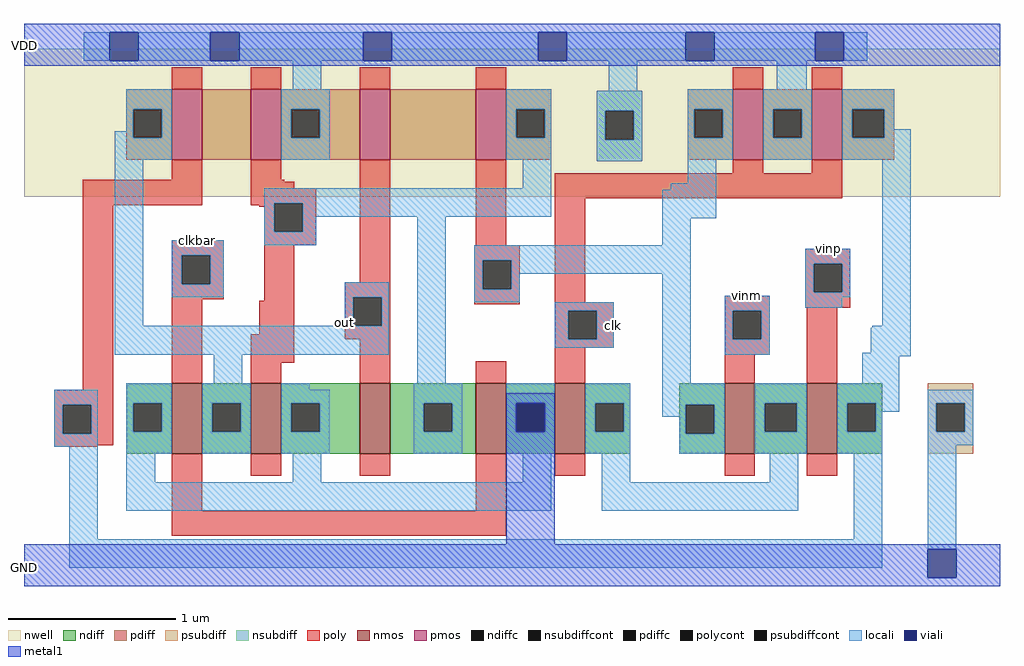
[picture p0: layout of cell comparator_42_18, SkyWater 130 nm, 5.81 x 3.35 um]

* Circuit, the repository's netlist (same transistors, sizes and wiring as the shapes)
* SPICE3 file created from comparator_42_18.ext - technology: sky130A

X0 a_84_n150# out GND GND sky130_fd_pr__nfet_01v8 ad=0p pd=0u as=0p ps=0u w=420000u l=180000u
X1 out clkbar GND GND sky130_fd_pr__nfet_01v8 ad=0p pd=0u as=0p ps=0u w=420000u l=180000u
X2 GND a_84_n150# out GND sky130_fd_pr__nfet_01v8 ad=0p pd=0u as=0p ps=0u w=420000u l=180000u
X3 GND clkbar a_84_n150# GND sky130_fd_pr__nfet_01v8 ad=0p pd=0u as=0p ps=0u w=420000u l=180000u
X4 a_482_n124# clk GND GND sky130_fd_pr__nfet_01v8 ad=0p pd=0u as=0p ps=0u w=420000u l=180000u
X5 a_482_n124# vinm a_350_54# GND sky130_fd_pr__nfet_01v8 ad=0p pd=0u as=0p ps=0u w=420000u l=180000u
X6 a_26_226# a_n150_n116# out VDD sky130_fd_pr__pfet_01v8 ad=0p pd=0u as=0p ps=0u w=420000u l=180000u
X7 a_250_226# out VDD VDD sky130_fd_pr__pfet_01v8 ad=0p pd=0u as=0p ps=0u w=420000u l=180000u
X8 a_n150_n116# vinp a_482_n124# GND sky130_fd_pr__nfet_01v8 ad=0p pd=0u as=0p ps=0u w=420000u l=180000u
X9 a_n150_n116# clk VDD VDD sky130_fd_pr__pfet_01v8 ad=0p pd=0u as=0p ps=0u w=420000u l=180000u
X10 VDD a_84_n150# a_26_226# VDD sky130_fd_pr__pfet_01v8 ad=0p pd=0u as=0p ps=0u w=420000u l=180000u
X11 a_84_n150# a_350_54# a_250_226# VDD sky130_fd_pr__pfet_01v8 ad=0p pd=0u as=0p ps=0u w=420000u l=180000u
X12 VDD clk a_350_54# VDD sky130_fd_pr__pfet_01v8 ad=0p pd=0u as=0p ps=0u w=420000u l=180000u

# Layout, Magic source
magic
tech sky130A
magscale 1 2
<< nwell >>
rect -186 182 976 358
<< nmos >>
rect -10 -124 26 -40
rect 84 -124 120 -40
rect 214 -124 250 -40
rect 352 -124 388 -40
rect 446 -124 482 -40
rect 648 -124 684 -40
rect 746 -124 782 -40
<< pmos >>
rect -10 226 26 310
rect 84 226 120 310
rect 214 226 250 310
rect 352 226 388 310
rect 658 226 694 310
rect 752 226 788 310
<< ndiff >>
rect -64 -64 -10 -40
rect -64 -98 -56 -64
rect -22 -98 -10 -64
rect -64 -124 -10 -98
rect 26 -64 84 -40
rect 26 -98 38 -64
rect 72 -98 84 -64
rect 26 -124 84 -98
rect 120 -64 214 -40
rect 120 -98 132 -64
rect 166 -98 214 -64
rect 120 -124 214 -98
rect 250 -64 352 -40
rect 250 -98 290 -64
rect 324 -98 352 -64
rect 250 -124 352 -98
rect 388 -64 446 -40
rect 388 -98 400 -64
rect 434 -98 446 -64
rect 388 -124 446 -98
rect 482 -64 536 -40
rect 482 -98 494 -64
rect 528 -98 536 -64
rect 482 -124 536 -98
rect 594 -66 648 -40
rect 594 -100 602 -66
rect 636 -100 648 -66
rect 594 -124 648 -100
rect 684 -64 746 -40
rect 684 -98 696 -64
rect 734 -98 746 -64
rect 684 -124 746 -98
rect 782 -64 836 -40
rect 782 -98 794 -64
rect 828 -98 836 -64
rect 782 -124 836 -98
<< pdiff >>
rect -64 286 -10 310
rect -64 252 -56 286
rect -22 252 -10 286
rect -64 226 -10 252
rect 26 226 84 310
rect 120 286 214 310
rect 120 252 132 286
rect 166 252 214 286
rect 120 226 214 252
rect 250 226 352 310
rect 388 286 442 310
rect 388 252 400 286
rect 434 252 442 286
rect 388 226 442 252
rect 604 286 658 310
rect 604 252 612 286
rect 646 252 658 286
rect 604 226 658 252
rect 694 286 752 310
rect 694 252 706 286
rect 740 252 752 286
rect 694 226 752 252
rect 788 286 850 310
rect 788 252 800 286
rect 838 252 850 286
rect 788 226 850 252
<< ndiffc >>
rect -56 -98 -22 -64
rect 38 -98 72 -64
rect 132 -98 166 -64
rect 290 -98 324 -64
rect 400 -98 434 -64
rect 494 -98 528 -64
rect 602 -100 636 -66
rect 696 -98 734 -64
rect 794 -98 828 -64
<< pdiffc >>
rect -56 252 -22 286
rect 132 252 166 286
rect 400 252 434 286
rect 612 252 646 286
rect 706 252 740 286
rect 800 252 838 286
<< psubdiff >>
rect 890 -64 944 -40
rect 890 -98 900 -64
rect 934 -98 944 -64
rect 890 -124 944 -98
<< nsubdiff >>
rect 496 284 550 308
rect 496 250 506 284
rect 540 250 550 284
rect 496 224 550 250
<< psubdiffcont >>
rect 900 -98 934 -64
<< nsubdiffcont >>
rect 506 250 540 284
<< poly >>
rect -10 310 26 336
rect 84 310 120 336
rect 214 310 250 336
rect 352 310 388 336
rect 658 310 694 336
rect 752 310 788 336
rect -10 202 26 226
rect -116 172 26 202
rect 84 202 120 226
rect 84 200 124 202
rect 84 192 136 200
rect 84 174 162 192
rect 84 172 112 174
rect -116 -48 -80 172
rect 94 170 112 172
rect 100 140 112 170
rect 146 140 162 174
rect -10 112 52 130
rect -10 78 2 112
rect 36 78 52 112
rect -10 60 52 78
rect 100 124 162 140
rect -10 -40 26 60
rect 100 58 136 124
rect 214 80 250 226
rect 352 124 388 226
rect 658 210 694 226
rect 752 210 788 226
rect 446 180 788 210
rect 94 18 136 58
rect 84 -16 136 18
rect 196 62 250 80
rect 196 28 206 62
rect 240 28 250 62
rect 350 106 404 124
rect 350 72 360 106
rect 394 72 404 106
rect 350 54 404 72
rect 446 56 482 180
rect 744 102 798 120
rect 744 68 754 102
rect 788 68 798 102
rect 196 12 250 28
rect 84 -40 120 -16
rect 214 -40 250 12
rect 446 46 516 56
rect 446 12 462 46
rect 496 12 516 46
rect 446 2 516 12
rect 648 46 702 64
rect 744 50 798 68
rect 648 12 658 46
rect 692 12 702 46
rect 352 -40 388 -14
rect 446 -40 482 2
rect 648 -6 702 12
rect 648 -40 684 -6
rect 746 -40 782 50
rect -150 -66 -80 -48
rect -150 -100 -140 -66
rect -106 -100 -80 -66
rect -150 -114 -80 -100
rect -150 -116 -98 -114
rect -10 -192 26 -124
rect 84 -150 120 -124
rect 214 -150 250 -124
rect 352 -192 388 -124
rect 446 -150 482 -124
rect 648 -150 684 -124
rect 746 -150 782 -124
rect -10 -222 388 -192
<< polycont >>
rect 112 140 146 174
rect 2 78 36 112
rect 206 28 240 62
rect 360 72 394 106
rect 754 68 788 102
rect 462 12 496 46
rect 658 12 692 46
rect -140 -100 -106 -66
<< locali >>
rect -115 344 -84 378
rect -50 344 36 378
rect 70 344 218 378
rect 252 344 426 378
rect 460 344 602 378
rect 636 344 756 378
rect 790 344 818 378
rect 134 310 168 344
rect -64 286 -10 310
rect -64 260 -56 286
rect -78 252 -56 260
rect -22 252 -10 286
rect -78 226 -10 252
rect 120 286 178 310
rect 120 252 132 286
rect 166 252 178 286
rect 120 226 178 252
rect 388 286 442 310
rect 510 308 544 344
rect 710 310 746 344
rect 388 252 400 286
rect 434 252 442 286
rect 388 226 442 252
rect -78 28 -44 226
rect 408 192 442 226
rect 496 284 550 308
rect 496 250 506 284
rect 540 250 550 284
rect 496 224 550 250
rect 604 286 658 310
rect 604 252 612 286
rect 646 252 658 286
rect 604 226 658 252
rect 694 286 752 310
rect 694 252 706 286
rect 740 252 752 286
rect 694 226 752 252
rect 788 286 850 310
rect 788 252 800 286
rect 838 262 850 286
rect 838 252 870 262
rect 788 226 870 252
rect 604 198 638 226
rect 100 174 442 192
rect 584 190 638 198
rect 100 140 112 174
rect 146 158 442 174
rect 146 140 162 158
rect -10 112 52 130
rect 100 124 162 140
rect -10 78 2 112
rect 36 78 52 112
rect -10 62 52 78
rect 196 62 248 80
rect 196 28 206 62
rect 240 28 248 62
rect -78 -6 248 28
rect 40 -40 74 -6
rect 282 -40 316 158
rect 574 156 638 190
rect 574 124 608 156
rect 350 106 608 124
rect 350 72 360 106
rect 394 90 608 106
rect 394 72 404 90
rect 350 56 404 72
rect 446 46 516 56
rect 446 12 462 46
rect 496 12 516 46
rect 446 2 516 12
rect 574 -40 608 90
rect 744 102 798 120
rect 744 68 754 102
rect 788 68 798 102
rect 648 46 702 64
rect 744 62 798 68
rect 744 50 788 62
rect 648 12 658 46
rect 692 12 702 46
rect 836 28 870 226
rect 824 26 870 28
rect 648 -6 702 12
rect 822 -4 870 26
rect 812 -8 870 -4
rect 812 -40 856 -8
rect -150 -66 -98 -48
rect -150 -100 -140 -66
rect -106 -100 -98 -66
rect -150 -116 -98 -100
rect -132 -226 -98 -116
rect -64 -64 -10 -40
rect -64 -98 -56 -64
rect -22 -98 -10 -64
rect -64 -124 -10 -98
rect 26 -64 84 -40
rect 26 -98 38 -64
rect 72 -98 84 -64
rect 26 -124 84 -98
rect 120 -48 154 -40
rect 120 -64 178 -48
rect 120 -98 132 -64
rect 166 -98 178 -64
rect 120 -124 178 -98
rect 278 -64 336 -40
rect 278 -98 290 -64
rect 324 -98 336 -64
rect 278 -124 336 -98
rect 388 -64 446 -40
rect 388 -98 400 -64
rect 434 -98 446 -64
rect 388 -124 446 -98
rect 482 -64 536 -40
rect 482 -98 494 -64
rect 528 -98 536 -64
rect 574 -66 648 -40
rect 574 -80 602 -66
rect 482 -124 536 -98
rect 594 -100 602 -80
rect 636 -100 648 -66
rect 594 -124 648 -100
rect 684 -64 746 -40
rect 684 -98 696 -64
rect 734 -98 746 -64
rect 684 -124 746 -98
rect 782 -64 856 -40
rect 782 -98 794 -64
rect 828 -74 856 -64
rect 890 -64 944 -48
rect 828 -98 836 -74
rect 782 -124 836 -98
rect -64 -158 -30 -124
rect 134 -158 168 -124
rect 408 -158 442 -124
rect -64 -192 442 -158
rect 502 -158 536 -124
rect 702 -158 736 -124
rect 502 -192 736 -158
rect 802 -226 836 -124
rect -132 -260 836 -226
rect 890 -98 900 -64
rect 934 -98 944 -64
rect 890 -114 944 -98
rect 890 -238 924 -114
<< viali >>
rect -84 344 -50 378
rect 36 344 70 378
rect 218 344 252 378
rect 426 344 460 378
rect 602 344 636 378
rect 756 344 790 378
rect 400 -98 434 -64
rect 890 -272 924 -238
<< metal1 >>
rect -186 378 976 388
rect -186 344 -84 378
rect -50 344 36 378
rect 70 344 218 378
rect 252 344 426 378
rect 460 344 602 378
rect 636 344 756 378
rect 790 344 976 378
rect -186 338 976 344
rect 388 -64 446 -52
rect 388 -98 400 -64
rect 434 -98 446 -64
rect 388 -232 446 -98
rect -186 -238 976 -232
rect -186 -272 890 -238
rect 924 -272 976 -238
rect -186 -282 976 -272
<< labels >>
rlabel metal1 -186 362 -186 362 7 VDD
rlabel metal1 -186 -260 -186 -260 7 GND
rlabel locali 516 28 516 28 3 clk
rlabel locali 196 32 196 32 7 out
rlabel locali 20 130 20 130 1 clkbar
rlabel locali 772 120 772 120 1 vinp
rlabel locali 674 64 674 64 1 vinm
<< end >>
